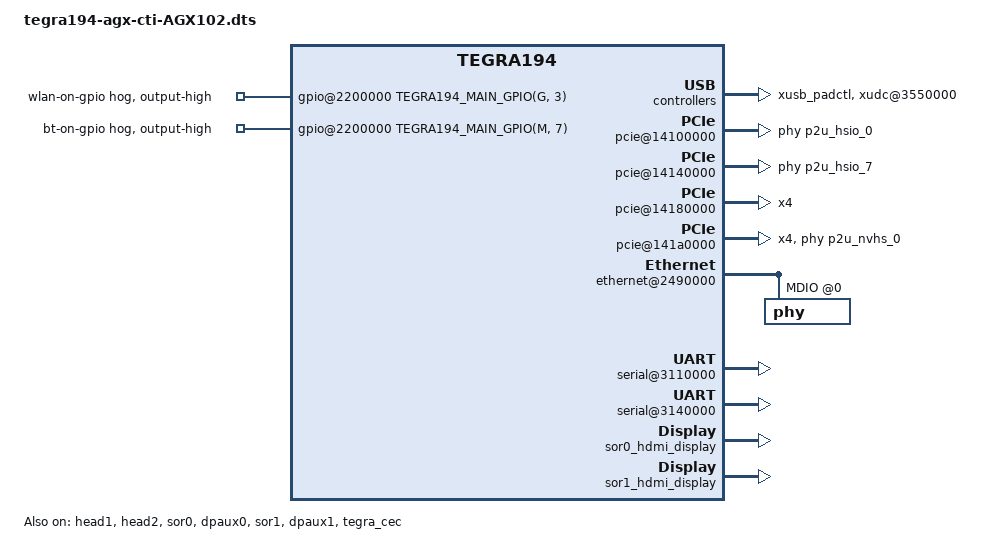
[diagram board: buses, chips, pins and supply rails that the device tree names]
/*
 * Top level DTS file for AGX102.
 */
#include "tegra194-agx-cti-base.dtsi"

/{
    nvidia,dtsfilename = "tegra194-agx-cti-AGX102.dts";
	
	fixed-regulators {
		p2822_vdd_1v8_sd: regulator@104 {
			/delete-property/ gpio;
			/delete-property/ enable-active-high;
		};
		
		p2822_vdd_sdmmc1_sw: regulator@106 {
			/delete-property/ gpio;
			/delete-property/ enable-active-high;
		};
		
		p2822_vdd_hdmi_5v0: regulator@112 {
			/delete-property/ gpio;
			/delete-property/ enable-active-high;
		};
		
		p2822_vdd_sys_en: regulator@113 {
			/delete-property/ gpio;
			/delete-property/ enable-active-high;
		};
        
        /*vdd_usb_vbus0: regulator@114 {
            regulator-min-microvolt = <3300000>;
			regulator-max-microvolt = <3300000>;
        };*/
		
		p2822_vdd_3v3_pcie: regulator@115 {
			/delete-property/ gpio;
			/delete-property/ enable-active-high;
		};
	};


   xusb_padctl: xusb_padctl@3520000 {
        status = "okay";

        pads {
            usb2 {
                lanes {
                    usb2-0 {
                        status = "okay";
                        vbus-supply = <&vdd_usb_vbus0>;
                    };
                    usb2-1 {
                        status = "okay";
                    };
                    usb2-2 {
                        status = "okay";
                    };
                    usb2-3 {
                        status = "okay";
                    };
                };
            };
            usb3 {
                lanes {
                    usb3-0 {
                        status = "okay";
                    };
                    usb3-1 {
                        status = "disabled";
                    };
                    usb3-2 {
                        status = "okay";
                    };
                    usb3-3 {
                        status = "okay";
                    };
                };
            };
        };
       ports {
            usb2-0 {
                status = "okay";
                mode = "otg";
                vbus-supply = <&vdd_usb_vbus0>;
                usb-role-switch;
				connector {
					compatible = "usb-b-connector", "gpio-usb-b-connector";
		            label = "micro-USB";
                    type = "micro";
                    vbus-gpios = <&tegra_aon_gpio TEGRA194_AON_GPIO(BB, 2) GPIO_ACTIVE_HIGH>;
					id-gpios = <&tegra_main_gpio TEGRA194_MAIN_GPIO(Q, 0) GPIO_ACTIVE_HIGH>;
				};
            };
            usb2-1 {
                status = "okay";
            };
            usb2-2 {
                status = "okay";
            };
            usb2-3 {
                status = "okay";
            };
            usb3-0 {
                nvidia,usb2-companion = <2>;
            //    nvidia,usb3-gen1-only= <1>;
                status = "okay";
            };
            usb3-1{
            //    nvidia,usb2-companion = <1>;
            //    nvidia,usb3-gen1-only= <1>;
                status = "disabled";
            };
            usb3-2 {
                nvidia,usb2-companion = <1>;
            //    nvidia,usb3-gen1-only= <1>;
                status = "okay";
            };
            usb3-3 {
                nvidia,usb2-companion = <0>;
            //    nvidia,usb3-gen1-only= <1>;
                status = "okay";
            };
        };
    };

    //remove unused phys from here
   tegra_xhci: xhci@3610000 {

        phys = <&{/xusb_padctl@3520000/pads/usb2/lanes/usb2-0}>,
            <&{/xusb_padctl@3520000/pads/usb2/lanes/usb2-1}>,
            <&{/xusb_padctl@3520000/pads/usb2/lanes/usb2-2}>,
            <&{/xusb_padctl@3520000/pads/usb2/lanes/usb2-3}>,
            <&{/xusb_padctl@3520000/pads/usb3/lanes/usb3-0}>,
            <&{/xusb_padctl@3520000/pads/usb3/lanes/usb3-2}>,
            <&{/xusb_padctl@3520000/pads/usb3/lanes/usb3-3}>;
        phy-names = "usb2-0", "usb2-1", "usb2-2", "usb2-3",
            "usb3-0", "usb3-2", "usb3-3";
        nvidia,xusb-padctl = <&xusb_padctl>;
    };

    xudc@3550000 {
        phys = <&{/xusb_padctl@3520000/pads/usb2/lanes/usb2-0}>,
            <&{/xusb_padctl@3520000/pads/usb3/lanes/usb3-3}>;
        phy-names = "usb2-0", "usb3-3";
        nvidia,xusb-padctl = <&xusb_padctl>;
        status = "okay";
    };

    pcie@14100000 {
        status = "okay";

        phys = <&p2u_hsio_0>;
        phy-names = "p2u-0";
    };

    pcie@14140000 {
        status = "okay";

        phys = <&p2u_hsio_7>;
        phy-names = "p2u-0";
    };

    pcie@14180000 {
        status = "okay";
		num-lanes = <4>;
    };


    pcie@141a0000 {
        status = "okay";
		num-lanes = <4>;
        phys = <&p2u_nvhs_0>, <&p2u_nvhs_1>, <&p2u_nvhs_2>,
               <&p2u_nvhs_3>;

        phy-names = "p2u-0", "p2u-1", "p2u-2", "p2u-3";
    };

    pcie_ep@141a0000 {
        status = "disabled";

    };

    ahci-sata@3507000 {

        status = "disabled";

    };

    ethernet@2490000 {
        mdio {
            phy@0 {
                /delete-property/ marvell,copper-mode;
            };
        };

    };

    gpio@2200000 {

        wlan-on-gpio{
            gpio-hog;
            output-high;
            gpios = <TEGRA194_MAIN_GPIO(G, 3) GPIO_ACTIVE_HIGH>;
            label = "wlan-on-gpio";
            status = "okay";
        };

        bt-on-gpio{
            gpio-hog;
            output-high;
            gpios = <TEGRA194_MAIN_GPIO(M, 7) GPIO_ACTIVE_HIGH>;
            label = "bt-on-gpio";
            status = "okay";
        };
    };
    
    serial@3110000{
		status = "okay";
	};

    serial@3140000{
        status = "okay";
    };
    
    mttcan@c310000{
		status = "okay";
	};
	
	mttcan@c320000{
		status = "okay";
	};

};

//sor0
&head1 {
    status = "okay";
};

//sor1
&head2 {
    status = "okay";
};

&sor0 {
    status = "okay";
    nvidia,active-panel = <&sor0_hdmi_display>;
};

&sor0_hdmi_display {
    status = "okay";
};

&dpaux0 {
    status = "okay";
};

&sor1 {
    status = "okay";
    nvidia,active-panel = <&sor1_hdmi_display>;
};

&sor1_hdmi_display {
    status = "okay";
};

&dpaux1 {
    status = "okay";
};

&tegra_cec {
    status = "okay";
};
